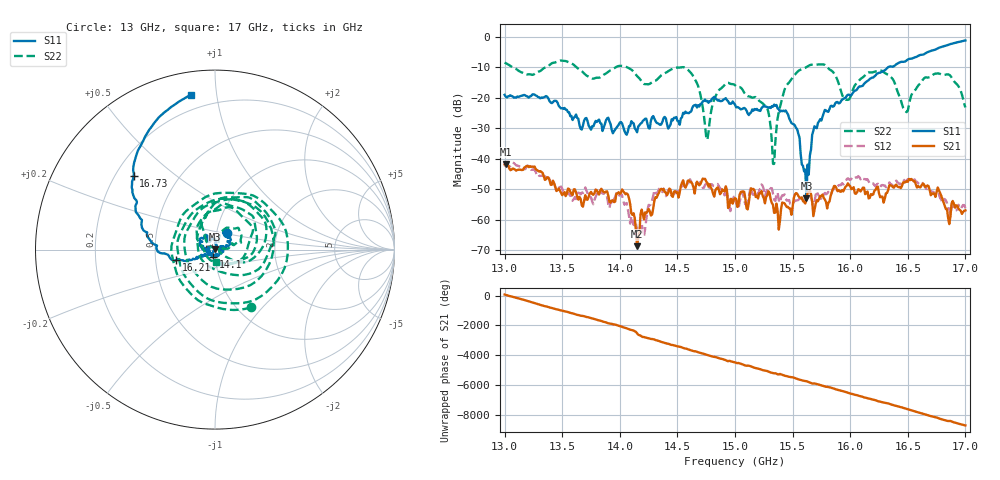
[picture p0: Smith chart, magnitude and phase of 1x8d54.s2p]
!Keysight Technologies,P9374A,MY57211807,A.19.30.04
!Date: Friday, May 08, 2026 15:21:49
!Correction: S11(C  2-Port  )
!S21(C  2-Port  )
!S12(C  2-Port  )
!S22(C  2-Port  )
!S2P File: Measurements: S11, S21, S12, S22:
# Hz S  dB  R 50
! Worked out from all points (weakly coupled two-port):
!   401 points, 13 GHz to 17 GHz, reference 50 ohm
!   highest |S21| = -41.72 dB at 13.01 GHz (marker M1); lowest = -68.7 dB at 14.15 GHz (marker M2)
!   lowest |S11| = -53.0 dB at 15.62 GHz (marker M3), VSWR 1.00, Z = 49.8 + j0.145 ohm
!   |S11| at or under -10 dB: start of sweep to 16.33 GHz
!   |S22| runs from -41.7 to -7.8 dB; largest |S21 - S12| = 0.0026
!   S11 on the Smith chart (normalised r, x): 13 GHz: 1.12, +0.21; 14.1 GHz: 0.97, -0.08; 16.21 GHz: 0.64, -0.08; 16.73 GHz: 0.28, +0.36; 17 GHz: 0.12, +0.85
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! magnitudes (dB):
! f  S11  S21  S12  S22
! 13 GHz  -19.0  -41.9  -42.6  -8.4
! 13.01 GHz  -19.6  -41.7  -41.8  -8.6
! 13.67 GHz  -30.4  -55.3  -51.1  -11.3
! 14 GHz  -28.1  -51.5  -51.6  -9.5
! 14.1 GHz  -27.7  -57.9  -58.9  -10.7
! 14.15 GHz  -31.3  -68.7  -63.3  -12.9
! 14.34 GHz  -28.6  -51.2  -49.9  -13.3
! 14.61 GHz  -24.7  -47.6  -46.7  -11.5
! 14.76 GHz  -21.0  -47.9  -48.3  -33.8
! 14.85 GHz  -20.9  -49.4  -48.3  -18.1
! 15 GHz  -22.2  -52.9  -53.4  -15.9
! 15.27 GHz  -22.9  -52.5  -51.1  -22.9
! 15.34 GHz  -22.2  -57.8  -53.4  -41.7
! 15.44 GHz  -24.1  -55.3  -53.1  -16.4
! 15.62 GHz  -53.0  -53.2  -53.3  -9.9
! 15.67 GHz  -32.1  -54.0  -54.2  -9.1
! 15.97 GHz  -19.3  -48.8  -46.7  -20.7
! 16.21 GHz  -13.0  -50.5  -48.7  -11.5
! 16.34 GHz  -9.8  -48.7  -47.7  -12.8
! 16.48 GHz  -8.0  -47.6  -47.7  -24.4
! 16.73 GHz  -4.3  -51.5  -51.1  -12.2
! 17 GHz  -1.2  -56.9  -56.2  -23.2
